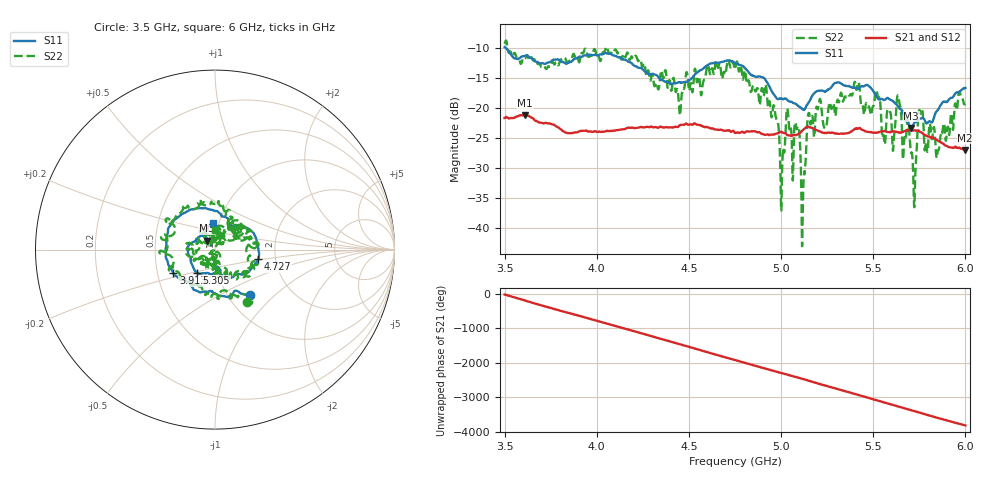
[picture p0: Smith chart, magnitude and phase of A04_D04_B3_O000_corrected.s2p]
! Created with skrf 1.9.0 (http://scikit-rf.org).
# Hz S RI R 50.0
!freq ReS11 ImS11 ReS21 ImS21 ReS12 ImS12 ReS22 ImS22
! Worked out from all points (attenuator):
!   1601 points, 3.5 GHz to 6 GHz, reference 50 ohm
!   highest |S21| = -21.22 dB at 3.611 GHz (marker M1); lowest = -27.0 dB at 5.998 GHz (marker M2)
!   lowest |S11| = -23.4 dB at 5.706 GHz (marker M3), VSWR 1.15, Z = 45.3 + j4.49 ohm
!   |S11| at or under -10 dB: 3.505 GHz to end of sweep
!   |S22| runs from -43.0 to -8.8 dB; largest |S21 - S12| = 0.0012
!   S11 on the Smith chart (normalised r, x): 3.5 GHz: 1.26, -0.71; 3.913 GHz: 0.61, -0.17; 4.727 GHz: 1.62, -0.19; 5.305 GHz: 0.80, -0.21; 6 GHz: 0.94, +0.28
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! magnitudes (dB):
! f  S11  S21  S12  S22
! 3.5 GHz  -9.9  -21.7  -21.7  -9.3
! 3.611 GHz  -11.3  -21.2  -21.2  -11.8
! 3.913 GHz  -11.5  -23.9  -23.8  -11.4
! 3.917 GHz  -11.5  -23.8  -23.8  -10.9
! 4.334 GHz  -14.9  -23.3  -23.2  -16.9
! 4.727 GHz  -12.2  -24.0  -23.8  -13.3
! 4.75 GHz  -12.6  -24.2  -24.1  -13.6
! 4.967 GHz  -18.0  -24.4  -24.3  -20.7
! 5.005 GHz  -18.5  -24.0  -24.0  -31.3
! 5.034 GHz  -18.7  -24.6  -24.4  -20.2
! 5.086 GHz  -19.5  -24.5  -24.4  -23.6
! 5.119 GHz  -20.3  -23.7  -23.6  -34.9
! 5.167 GHz  -18.1  -23.3  -23.3  -21.4
! 5.305 GHz  -15.8  -24.3  -24.2  -18.8
! 5.584 GHz  -18.5  -24.0  -24.0  -20.7
! 5.639 GHz  -20.0  -24.1  -24.0  -18.6
! 5.706 GHz  -23.4  -23.8  -23.7  -27.5
! 5.727 GHz  -22.4  -23.8  -23.7  -32.4
! 5.756 GHz  -21.8  -24.0  -23.9  -21.0
! 5.85 GHz  -20.4  -25.5  -25.4  -27.2
! 5.998 GHz  -16.7  -27.0  -26.9  -19.4
! 6 GHz  -16.7  -27.0  -26.9  -19.4
